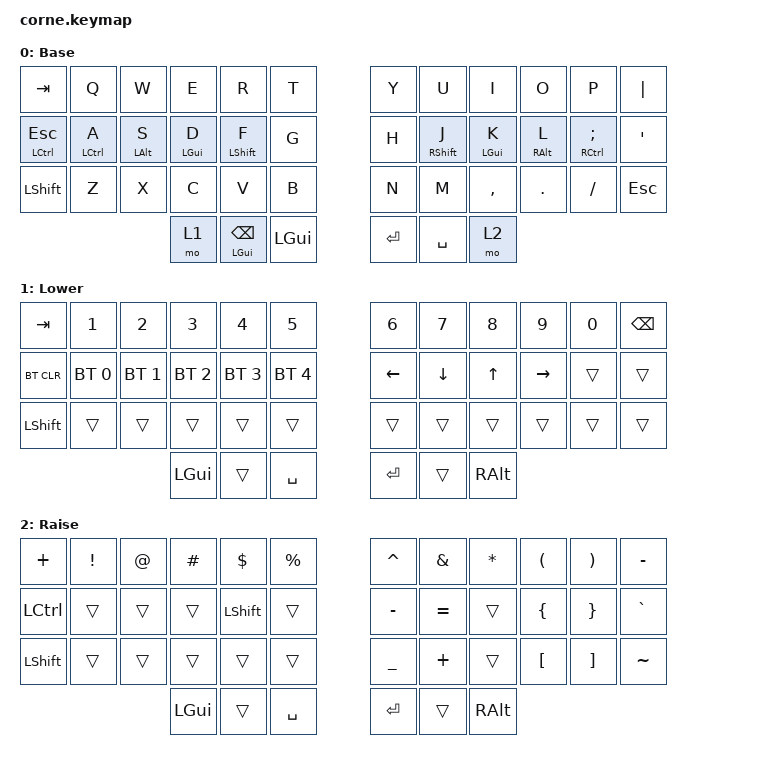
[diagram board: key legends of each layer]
/*
 * Copyright (c) 2020 The ZMK Contributors
 *
 * SPDX-License-Identifier: MIT
 */

#include <behaviors.dtsi>
#include <dt-bindings/zmk/bt.h>
#include <dt-bindings/zmk/keys.h>

/ {
    behaviors {
        hm: homerow_mods {
            compatible = "zmk,behavior-hold-tap";
            label = "HOMEROW_MODS";
            bindings = <&kp>, <&kp>;

            #binding-cells = <2>;
            tapping-term-ms = <200>;
            flavor = "tap-preferred";
        };
    };

    keymap {
        compatible = "zmk,keymap";

        default_layer {
            // -----------------------------------------------------------------------------------------
            // |  TAB |  Q  |  W  |  E  |  R  |  T  |   |  Y  |  U   |  I  |  O  |  P  | BKSP |
            // | CTRL |  A  |  S  |  D  |  F  |  G  |   |  H  |  J   |  K  |  L  |  ;  |  '   |
            // | SHFT |  Z  |  X  |  C  |  V  |  B  |   |  N  |  M   |  ,  |  .  |  /  | ESC  |
            //                    | GUI | LWR | SPC |   | ENT | RSE  | ALT |

            display-name = "Base";
            bindings = <
&kp TAB           &kp Q        &kp W       &kp E       &kp R               &kp T       &kp Y    &kp U        &kp I       &kp O       &kp P           &kp PIPE
&hm LCTRL ESCAPE  &hm LCTRL A  &hm LALT S  &hm LGUI D  &hm LSHIFT F        &kp G       &kp H    &hm RSHFT J  &hm LGUI K  &hm RALT L  &hm RCTRL SEMI  &kp SQT
&kp LSHFT         &kp Z        &kp X       &kp C       &kp V               &kp B       &kp N    &kp M        &kp COMMA   &kp DOT     &kp FSLH        &kp ESC
                                           &mo 1       &hm LGUI BACKSPACE  &kp LGUI    &kp RET  &kp SPACE    &mo 2
            >;
        };

        lower_layer {
            // -----------------------------------------------------------------------------------------
            // |  TAB |  1  |  2  |  3  |  4  |  5  |   |  6  |  7  |  8  |  9  |  0  | BKSP |
            // | BTCLR| BT1 | BT2 | BT3 | BT4 | BT5 |   | LFT | DWN |  UP | RGT |     |      |
            // | SHFT |     |     |     |     |     |   |     |     |     |     |     |      |
            //                    | GUI |     | SPC |   | ENT |     | ALT |

            display-name = "Lower";
            bindings = <
&kp TAB     &kp N1        &kp N2        &kp N3        &kp N4        &kp N5          &kp N6    &kp N7    &kp N8    &kp N9     &kp N0  &kp BSPC
&bt BT_CLR  &bt BT_SEL 0  &bt BT_SEL 1  &bt BT_SEL 2  &bt BT_SEL 3  &bt BT_SEL 4    &kp LEFT  &kp DOWN  &kp UP    &kp RIGHT  &trans  &trans
&kp LSHFT   &trans        &trans        &trans        &trans        &trans          &trans    &trans    &trans    &trans     &trans  &trans
                                        &kp LGUI      &trans        &kp SPACE       &kp RET   &trans    &kp RALT
            >;
        };

        raise_layer {
            // -----------------------------------------------------------------------------------------
            // |  TAB |  !  |  @  |  #  |  $  |  %  |   |  ^  |  &  |  *  |  (  |  )  | BKSP |
            // | CTRL |     |     |     |     |     |   |  -  |  =  |  [  |  ]  |  \  |  `   |
            // | SHFT |     |     |     |     |     |   |  _  |  +  |  {  |  }  | "|" |  ~   |
            //                    | GUI |     | SPC |   | ENT |     | ALT |

            display-name = "Raise";
            bindings = <
&kp PLUS   &kp EXCL  &kp AT  &kp HASH  &kp DLLR    &kp PRCNT    &kp CARET  &kp AMPS   &kp STAR  &kp LEFT_PARENTHESIS  &kp RPAR           &kp MINUS
&kp LCTRL  &trans    &trans  &trans    &kp LSHIFT  &trans       &kp MINUS  &kp EQUAL  &trans    &kp LEFT_BRACE        &kp RIGHT_BRACE    &kp GRAVE
&kp LSHFT  &trans    &trans  &trans    &trans      &trans       &kp UNDER  &kp PLUS   &trans    &kp LEFT_BRACKET      &kp RIGHT_BRACKET  &kp TILDE
                             &kp LGUI  &trans      &kp SPACE    &kp RET    &trans     &kp RALT
            >;
        };

        extra_1 { status = "reserved"; };

        extra_2 { status = "reserved"; };

        extra_3 { status = "reserved"; };
    };
};
